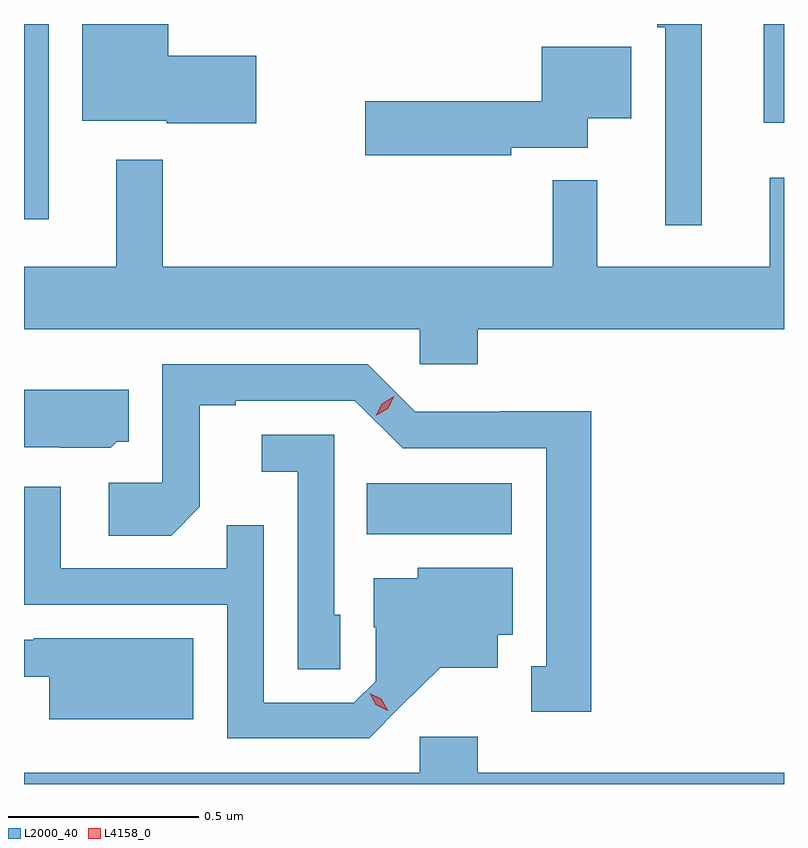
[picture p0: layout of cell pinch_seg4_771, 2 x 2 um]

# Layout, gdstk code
import gdstk
lib = gdstk.Library(unit=1e-6, precision=1e-09)
def R(c, l, rs):  # rectangles x0, y0, x1, y1
    for r in rs: c.add(gdstk.rectangle(r[:2], r[2:], *l))
def P(c, l, *ps):  # polygons
    for p in ps: c.add(gdstk.Polygon(p, *l))
L2000_40 = (2000, 40)
L4158_0 = (4158, 0)

pinch_seg4_771 = lib.new_cell('pinch_seg4_771')
R(pinch_seg4_771, L2000_40, [(769.402,818.924,769.783,819.058), (768.5,819.753,768.565,820.267), (770.447,820.007,770.5,820.267)])
P(pinch_seg4_771, L2000_40, [(770.284,820.267),(770.167,820.267),(770.167,820.259),(770.187,820.259),(770.187,819.738),(770.284,819.738)],
  [(769.111,820.184),(768.88,820.184),(768.88,820.267),(768.653,820.267),(768.653,820.013),(768.876,820.013),(768.876,820.006),(769.111,820.006)],
  [(769.782,819.941),(769.984,819.941),(769.984,820.019),(770.098,820.019),(770.098,820.207),(769.862,820.207),(769.862,820.064),(769.398,820.064),(769.398,819.922),(769.782,819.922)],
  [(768.743,819.91),(768.743,819.628),(768.5,819.628),(768.5,819.464),(769.542,819.464),(769.542,819.371),(769.694,819.371),(769.694,819.464),(770.5,819.464),(770.5,819.862),(770.462,819.862),(770.462,819.628),(770.009,819.628),(770.009,819.856),(769.891,819.856),(769.891,819.628),(768.865,819.628),(768.865,819.91)],
  [(769.993,819.248),(769.752,819.248),(769.752,819.246),(769.53,819.246),(769.404,819.372),(768.864,819.372),(768.864,819.06),(768.723,819.06),(768.723,818.92),(768.887,818.92),(768.963,818.996),(768.963,819.264),(769.057,819.264),(769.057,819.276),(769.371,819.276),(769.497,819.15),(769.874,819.15),(769.874,818.577),(769.835,818.577),(769.835,818.457),(769.993,818.457)],
  [(768.744,819.168),(768.775,819.168),(768.775,819.304),(768.5,819.304),(768.5,819.153),(768.594,819.153),(768.594,819.152),(768.728,819.152)],
  [(769.332,818.712),(769.317,818.712),(769.317,819.186),(769.125,819.186),(769.125,819.089),(769.221,819.089),(769.221,818.569),(769.332,818.569)],
  [(769.492,818.471),(769.595,818.573),(769.747,818.573),(769.747,818.66),(769.786,818.66),(769.786,818.836),(769.536,818.836),(769.536,818.809),(769.421,818.809),(769.421,818.68),(769.425,818.68),(769.425,818.538),(769.368,818.481),(769.131,818.481),(769.131,818.948),(769.033,818.948),(769.033,818.835),(768.597,818.835),(768.597,819.049),(768.501,819.049),(768.501,818.739),(769.035,818.739),(769.035,818.388),(769.408,818.388)],
  [(768.946,818.65),(768.526,818.65),(768.526,818.646),(768.5,818.646),(768.5,818.549),(768.566,818.549),(768.566,818.438),(768.946,818.438)],
  [(770.5,818.296),(769.694,818.296),(769.694,818.392),(769.542,818.392),(769.542,818.296),(768.5,818.296),(768.5,818.267),(770.5,818.267)])
P(pinch_seg4_771, L4158_0, [(769.425,819.236),(769.425,819.236),(769.442,819.268),(769.474,819.287),(769.474,819.287),(769.474,819.287),(769.457,819.255),(769.425,819.236)],
  [(769.457,818.46),(769.426,818.476),(769.41,818.506),(769.41,818.506),(769.41,818.506),(769.44,818.491),(769.457,818.461),(769.457,818.46)])

lib.write_gds('pinch_seg4_771.gds')
